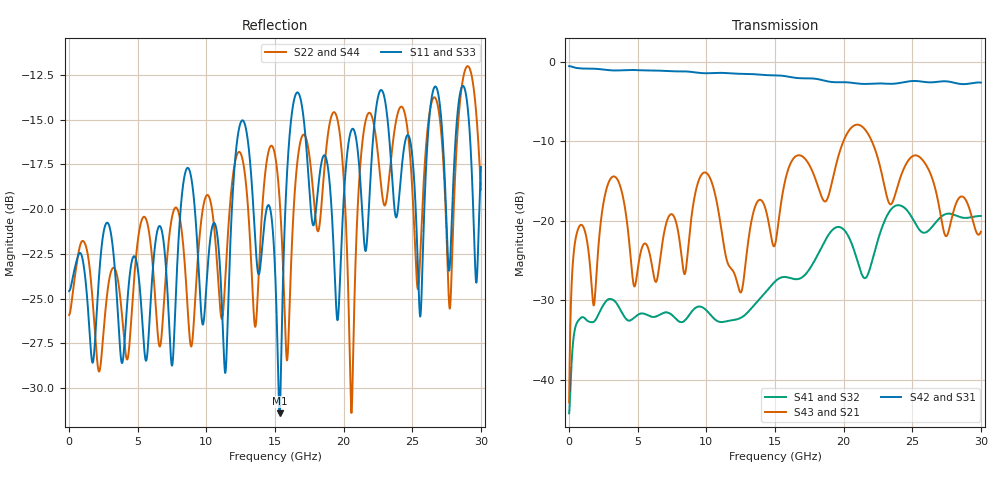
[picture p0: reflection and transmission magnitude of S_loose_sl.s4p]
!diffpair-meanders S_loose_sl (stripline: 6 mm serpentine, folds 1.0 mm apart), mesh medium
!ports 1 P_near 2 N_near 3 P_far 4 N_far; openEMS FDTD, lumped 50 ohm ports
# Hz S RI R 50.0
! Port[1] = P_near
! Port[2] = N_near
! Port[3] = P_far
! Port[4] = N_far
!freq ReS11 ImS11 ReS12 ImS12 ReS13 ImS13
! ReS14 ImS14
! ReS21 ImS21 ReS22 ImS22 ReS23 ImS23
! ReS24 ImS24
! ReS31 ImS31 ReS32 ImS32 ReS33 ImS33
! ReS34 ImS34
! ReS41 ImS41 ReS42 ImS42 ReS43 ImS43
! ReS44 ImS44
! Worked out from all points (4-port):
!   3000 points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, 10 MHz to 30 GHz, reference 50 ohm
!   strongest paths, dB at 10 MHz, 7.51 GHz, 15.01 GHz, 22.51 GHz, 30 GHz:
!     S42: -0.6, -1.2, -1.7, -2.7, -2.6
!     S31: -0.7, -1.3, -1.8, -3.0, -3.0
!     S43: -42.9, -19.2, -23.0, -12.2, -21.4
!     S21: -42.9, -19.2, -23.0, -12.2, -21.4
!     S41: -44.2, -31.9, -27.7, -22.4, -19.4
!     S32: -44.2, -31.7, -27.7, -22.4, -19.3
!   lowest |S11| = -31.4 dB at 15.34 GHz (marker M1), VSWR 1.06, Z = 51.4 + j2.36 ohm
!   |S11| at or under -10 dB: start of sweep to end of sweep
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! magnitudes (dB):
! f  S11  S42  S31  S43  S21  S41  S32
! 10 MHz  -24.6  -0.6  -0.7  -42.9  -42.9  -44.2  -44.2
! 550 MHz  -22.9  -0.8  -0.9  -21.7  -21.7  -33.0  -32.9
! 3.14 GHz  -21.8  -1.1  -1.2  -14.5  -14.5  -29.9  -29.9
! 12.68 GHz  -15.1  -1.5  -1.7  -27.9  -27.9  -32.0  -31.8
! 15.34 GHz  -31.4  -1.7  -1.9  -19.1  -19.1  -27.2  -27.3
! 16.58 GHz  -13.5  -2.1  -2.2  -11.8  -11.8  -27.4  -27.5
! 30 GHz  -17.6  -2.6  -3.0  -21.4  -21.4  -19.4  -19.3
